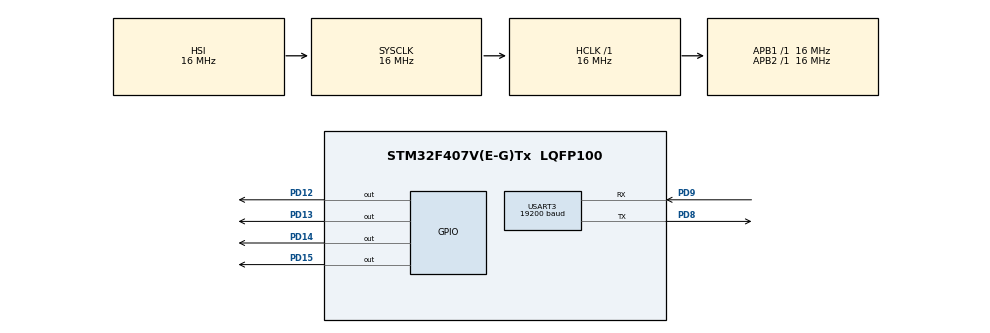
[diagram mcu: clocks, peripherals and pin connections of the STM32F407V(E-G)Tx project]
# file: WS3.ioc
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Mcu.Family=STM32F4
Mcu.Name=STM32F407V(E-G)Tx
Mcu.Package=LQFP100
NVIC.PriorityGroup=NVIC_PRIORITYGROUP_4
PD12.Signal=GPIO_Output
PD13.Signal=GPIO_Output
PD14.Signal=GPIO_Output
PD15.Signal=GPIO_Output
PD8.Mode=Asynchronous
PD8.Signal=USART3_TX
PD9.Mode=Asynchronous
PD9.Signal=USART3_RX
ProjectManager.HeapSize=0x200
ProjectManager.StackSize=0x400
ProjectManager.TargetToolchain=STM32CubeIDE
RCC.AHBFreq_Value=16000000
RCC.APB1Freq_Value=16000000
RCC.APB2Freq_Value=16000000
RCC.CortexFreq_Value=16000000
RCC.HSE_VALUE=25000000
RCC.HSI_VALUE=16000000
RCC.LSE_VALUE=32768
RCC.SYSCLKFreq_VALUE=16000000
RCC.VCOOutputFreq_Value=192000000
USART3.BaudRate=19200
USART3.VirtualMode=VM_ASYNC
board=custom

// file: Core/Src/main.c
/* USER CODE BEGIN Header */
/**
  ******************************************************************************
  * @file           : main.c
  * @brief          : Main program body
  ******************************************************************************
  * @attention
  *
  * Copyright (c) 2024 STMicroelectronics.
  * All rights reserved.
  *
  * This software is licensed under terms that can be found in the LICENSE file
  * in the root directory of this software component.
  * If no LICENSE file comes with this software, it is provided AS-IS.
  *
  ******************************************************************************
  */
/* USER CODE END Header */
#include "main.h"

UART_HandleTypeDef huart3;

void SystemClock_Config(void);
static void MX_GPIO_Init(void);
static void MX_USART3_UART_Init(void);

int main(void)
{

  /* MCU Configuration--------------------------------------------------------*/

  /* Reset of all peripherals, Initializes the Flash interface and the Systick. */
  HAL_Init();

  /* Configure the system clock */
  SystemClock_Config();

  /* Initialize all configured peripherals */
  MX_GPIO_Init();
  MX_USART3_UART_Init();

  /* Infinite loop */
  /* USER CODE BEGIN WHILE */
  while (1)
  {
	  uint8_t rcvBuf[1];
	  HAL_StatusTypeDef result;
	  GPIO_PinState state;

    result = HAL_UART_Receive(&huart3, rcvBuf, 1, 10);
    if (result == HAL_OK) {
        switch (rcvBuf[0]){
            case '1':
                state = HAL_GPIO_ReadPin(GPIOD, GPIO_PIN_12);
                if (state == GPIO_PIN_RESET) {
                    HAL_GPIO_WritePin(GPIOD, GPIO_PIN_12, GPIO_PIN_SET);
                    HAL_UART_Transmit(&huart3, (uint8_t *)" - Green ON\r\n", 13, 100);
                } else {
                    HAL_GPIO_WritePin(GPIOD, GPIO_PIN_12, GPIO_PIN_RESET);
                    HAL_UART_Transmit(&huart3, (uint8_t *)" - Green OFF\r\n", 14, 100);
                }
                break;
            case '2':
                state = HAL_GPIO_ReadPin(GPIOD, GPIO_PIN_13);
                if (state == GPIO_PIN_RESET) {
                    HAL_GPIO_WritePin(GPIOD, GPIO_PIN_13, GPIO_PIN_SET);
                    HAL_UART_Transmit(&huart3, (uint8_t *)" - Orange ON\r\n", 14, 100);
                } else {
                    HAL_GPIO_WritePin(GPIOD, GPIO_PIN_13, GPIO_PIN_RESET);
                    HAL_UART_Transmit(&huart3, (uint8_t *)" - Orange OFF\r\n", 15, 100);
                }
                break;
            case '3':
                state = HAL_GPIO_ReadPin(GPIOD, GPIO_PIN_14);
                if (state == GPIO_PIN_RESET) {
                    HAL_GPIO_WritePin(GPIOD, GPIO_PIN_14, GPIO_PIN_SET);
                    HAL_UART_Transmit(&huart3, (uint8_t *)" - Red ON\r\n", 11, 100);
                } else {
                    HAL_GPIO_WritePin(GPIOD, GPIO_PIN_14, GPIO_PIN_RESET);
                    HAL_UART_Transmit(&huart3, (uint8_t *)" - Red OFF\r\n", 12, 100);
                }
                break;
            case '4':
                state = HAL_GPIO_ReadPin(GPIOD, GPIO_PIN_15);
                if (state == GPIO_PIN_RESET) {
                    HAL_GPIO_WritePin(GPIOD, GPIO_PIN_15, GPIO_PIN_SET);
                    HAL_UART_Transmit(&huart3, (uint8_t *)" - Blue ON\r\n", 12, 100);
                } else {
                    HAL_GPIO_WritePin(GPIOD, GPIO_PIN_15, GPIO_PIN_RESET);
                    HAL_UART_Transmit(&huart3, (uint8_t *)" - Blue OFF\r\n", 13, 100);
                }
                break;
            case '5':
                HAL_GPIO_WritePin(GPIOD, GPIO_PIN_12, GPIO_PIN_SET);
                HAL_GPIO_WritePin(GPIOD, GPIO_PIN_13, GPIO_PIN_SET);
                HAL_GPIO_WritePin(GPIOD, GPIO_PIN_14, GPIO_PIN_SET);
                HAL_GPIO_WritePin(GPIOD, GPIO_PIN_15, GPIO_PIN_SET);
                HAL_UART_Transmit(&huart3, (uint8_t *)" - All ON\r\n", 11, 100);
                break;
            case '6':
                HAL_GPIO_WritePin(GPIOD, GPIO_PIN_12, GPIO_PIN_RESET);
                HAL_GPIO_WritePin(GPIOD, GPIO_PIN_13, GPIO_PIN_RESET);
                HAL_GPIO_WritePin(GPIOD, GPIO_PIN_14, GPIO_PIN_RESET);
                HAL_GPIO_WritePin(GPIOD, GPIO_PIN_15, GPIO_PIN_RESET);
                HAL_UART_Transmit(&huart3, (uint8_t *)" - All OFF\r\n", 12, 100);
                break;
            default:
	            HAL_UART_Transmit(&huart3, (uint8_t *)" - UnexpCmd\r\n", 13, 100);
                break;
        }
    }
    /* USER CODE END WHILE */

  }
}

void SystemClock_Config(void)
{
  RCC_OscInitTypeDef RCC_OscInitStruct = {0};
  RCC_ClkInitTypeDef RCC_ClkInitStruct = {0};

  /** Configure the main internal regulator output voltage
  */
  __HAL_RCC_PWR_CLK_ENABLE();
  __HAL_PWR_VOLTAGESCALING_CONFIG(PWR_REGULATOR_VOLTAGE_SCALE1);

  /** Initializes the RCC Oscillators according to the specified parameters
  * in the RCC_OscInitTypeDef structure.
  */
  RCC_OscInitStruct.OscillatorType = RCC_OSCILLATORTYPE_HSI;
  RCC_OscInitStruct.HSIState = RCC_HSI_ON;
  RCC_OscInitStruct.HSICalibrationValue = RCC_HSICALIBRATION_DEFAULT;
  RCC_OscInitStruct.PLL.PLLState = RCC_PLL_NONE;
  if (HAL_RCC_OscConfig(&RCC_OscInitStruct) != HAL_OK)
  {
    Error_Handler();
  }

  /** Initializes the CPU, AHB and APB buses clocks
  */
  RCC_ClkInitStruct.ClockType = RCC_CLOCKTYPE_HCLK|RCC_CLOCKTYPE_SYSCLK
                              |RCC_CLOCKTYPE_PCLK1|RCC_CLOCKTYPE_PCLK2;
  RCC_ClkInitStruct.SYSCLKSource = RCC_SYSCLKSOURCE_HSI;
  RCC_ClkInitStruct.AHBCLKDivider = RCC_SYSCLK_DIV1;
  RCC_ClkInitStruct.APB1CLKDivider = RCC_HCLK_DIV1;
  RCC_ClkInitStruct.APB2CLKDivider = RCC_HCLK_DIV1;

  if (HAL_RCC_ClockConfig(&RCC_ClkInitStruct, FLASH_LATENCY_0) != HAL_OK)
  {
    Error_Handler();
  }
}

static void MX_USART3_UART_Init(void)
{

  huart3.Instance = USART3;
  huart3.Init.BaudRate = 19200;
  huart3.Init.WordLength = UART_WORDLENGTH_8B;
  huart3.Init.StopBits = UART_STOPBITS_1;
  huart3.Init.Parity = UART_PARITY_NONE;
  huart3.Init.Mode = UART_MODE_TX_RX;
  huart3.Init.HwFlowCtl = UART_HWCONTROL_NONE;
  huart3.Init.OverSampling = UART_OVERSAMPLING_16;
  if (HAL_UART_Init(&huart3) != HAL_OK)
  {
    Error_Handler();
  }

}

static void MX_GPIO_Init(void)
{
  GPIO_InitTypeDef GPIO_InitStruct = {0};

  /* GPIO Ports Clock Enable */
  __HAL_RCC_GPIOD_CLK_ENABLE();

  /*Configure GPIO pin Output Level */
  HAL_GPIO_WritePin(GPIOD, GPIO_PIN_12|GPIO_PIN_13|GPIO_PIN_14|GPIO_PIN_15, GPIO_PIN_RESET);

  /*Configure GPIO pins : PD12 PD13 PD14 PD15 */
  GPIO_InitStruct.Pin = GPIO_PIN_12|GPIO_PIN_13|GPIO_PIN_14|GPIO_PIN_15;
  GPIO_InitStruct.Mode = GPIO_MODE_OUTPUT_PP;
  GPIO_InitStruct.Pull = GPIO_NOPULL;
  GPIO_InitStruct.Speed = GPIO_SPEED_FREQ_LOW;
  HAL_GPIO_Init(GPIOD, &GPIO_InitStruct);

}

void Error_Handler(void)
{
  __disable_irq();
  while (1)
  {
  }
}
